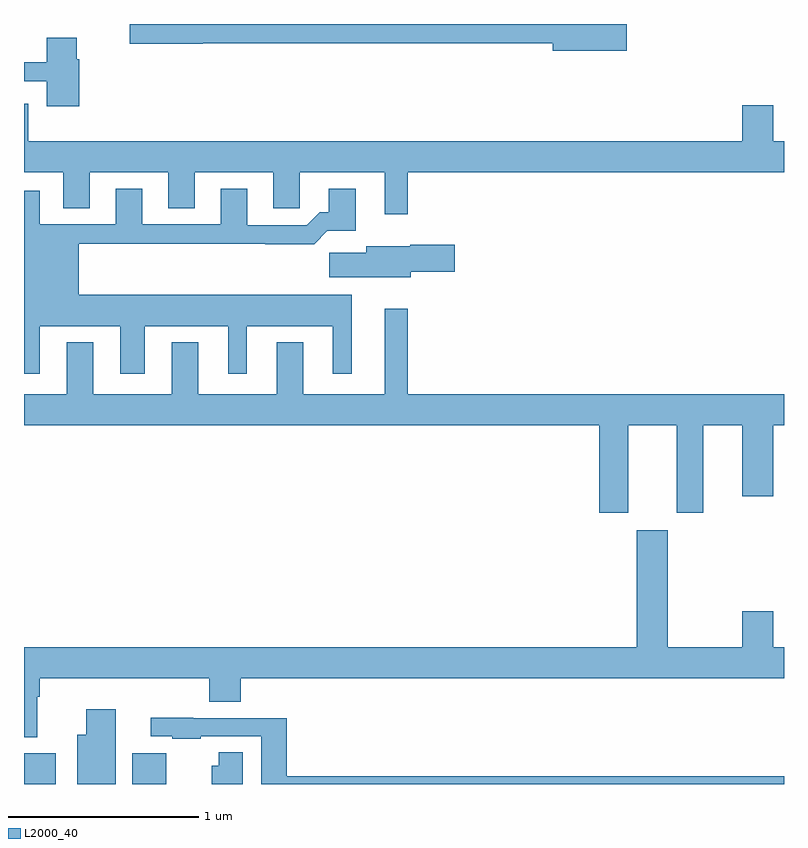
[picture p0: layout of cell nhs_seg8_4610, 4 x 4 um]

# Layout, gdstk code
import gdstk
lib = gdstk.Library(unit=1e-6, precision=1e-09)
def R(c, l, rs):  # rectangles x0, y0, x1, y1
    for r in rs: c.add(gdstk.rectangle(r[:2], r[2:], *l))
def P(c, l, *ps):  # polygons
    for p in ps: c.add(gdstk.Polygon(p, *l))
L2000_40 = (2000, 40)

nhs_seg8_4610 = lib.new_cell('nhs_seg8_4610')
R(nhs_seg8_4610, L2000_40, [(389,1159.9,389.167,1160.062), (389.57,1159.9,389.749,1160.062)])
P(nhs_seg8_4610, L2000_40, [(392.173,1163.9),(389.556,1163.9),(389.556,1163.795),(389.94,1163.795),(389.94,1163.8),(391.784,1163.8),(391.784,1163.758),(392.173,1163.758)],
  [(389.291,1163.714),(389.278,1163.714),(389.278,1163.827),(389.12,1163.827),(389.12,1163.699),(389,1163.699),(389,1163.598),(389.12,1163.598),(389.12,1163.466),(389.291,1163.466)],
  [(391.021,1163.12),(393,1163.12),(393,1163.284),(392.944,1163.284),(392.944,1163.473),(392.78,1163.473),(392.78,1163.284),(389.023,1163.284),(389.023,1163.479),(389,1163.479),(389,1163.12),(389.207,1163.12),(389.207,1162.93),(389.347,1162.93),(389.347,1163.12),(389.759,1163.12),(389.759,1162.93),(389.899,1162.93),(389.899,1163.12),(390.311,1163.12),(390.311,1162.93),(390.45,1162.93),(390.45,1163.12),(390.899,1163.12),(390.899,1162.899),(391.021,1162.899)],
  [(389.083,1162.31),(389.507,1162.31),(389.507,1162.059),(389.635,1162.059),(389.635,1162.31),(390.074,1162.31),(390.074,1162.059),(390.172,1162.059),(390.172,1162.31),(390.626,1162.31),(390.626,1162.059),(390.724,1162.059),(390.724,1162.474),(389.287,1162.474),(389.287,1162.744),(390.271,1162.744),(390.271,1162.742),(390.527,1162.742),(390.596,1162.811),(390.745,1162.811),(390.745,1163.032),(390.605,1163.032),(390.605,1162.909),(390.556,1162.909),(390.489,1162.842),(390.175,1162.842),(390.175,1163.032),(390.035,1163.032),(390.035,1162.845),(389.623,1162.845),(389.623,1163.032),(389.483,1163.032),(389.483,1162.845),(389.083,1162.845),(389.083,1163.023),(389,1163.023),(389,1162.059),(389.083,1162.059)],
  [(391.036,1162.595),(391.267,1162.595),(391.267,1162.737),(391.032,1162.737),(391.032,1162.729),(390.8,1162.729),(390.8,1162.697),(390.606,1162.697),(390.606,1162.568),(391.036,1162.568)],
  [(392.179,1161.788),(392.435,1161.788),(392.435,1161.327),(392.575,1161.327),(392.575,1161.788),(392.78,1161.788),(392.78,1161.414),(392.944,1161.414),(392.944,1161.788),(393,1161.788),(393,1161.952),(391.021,1161.952),(391.021,1162.402),(390.899,1162.402),(390.899,1161.952),(390.469,1161.952),(390.469,1162.225),(390.329,1162.225),(390.329,1161.952),(389.917,1161.952),(389.917,1162.225),(389.777,1162.225),(389.777,1161.952),(389.365,1161.952),(389.365,1162.225),(389.225,1162.225),(389.225,1161.952),(389,1161.952),(389,1161.788),(392.027,1161.788),(392.027,1161.327),(392.179,1161.327)],
  [(389.071,1160.36),(389.084,1160.36),(389.084,1160.456),(389.975,1160.456),(389.975,1160.332),(390.14,1160.332),(390.14,1160.456),(393,1160.456),(393,1160.62),(392.944,1160.62),(392.944,1160.809),(392.78,1160.809),(392.78,1160.62),(392.389,1160.62),(392.389,1161.235),(392.225,1161.235),(392.225,1160.62),(389,1160.62),(389,1160.147),(389.071,1160.147)],
  [(389.482,1160.293),(389.327,1160.293),(389.327,1160.158),(389.279,1160.158),(389.279,1159.9),(389.482,1159.9)],
  [(393,1159.94),(390.383,1159.94),(390.383,1160.247),(389.891,1160.247),(389.891,1160.249),(389.667,1160.249),(389.667,1160.151),(389.779,1160.151),(389.779,1160.139),(389.93,1160.139),(389.93,1160.151),(390.248,1160.151),(390.248,1159.9),(393,1159.9)],
  [(390.151,1160.066),(390.026,1160.066),(390.026,1159.996),(389.987,1159.996),(389.987,1159.9),(390.151,1159.9)])

lib.write_gds('nhs_seg8_4610.gds')
